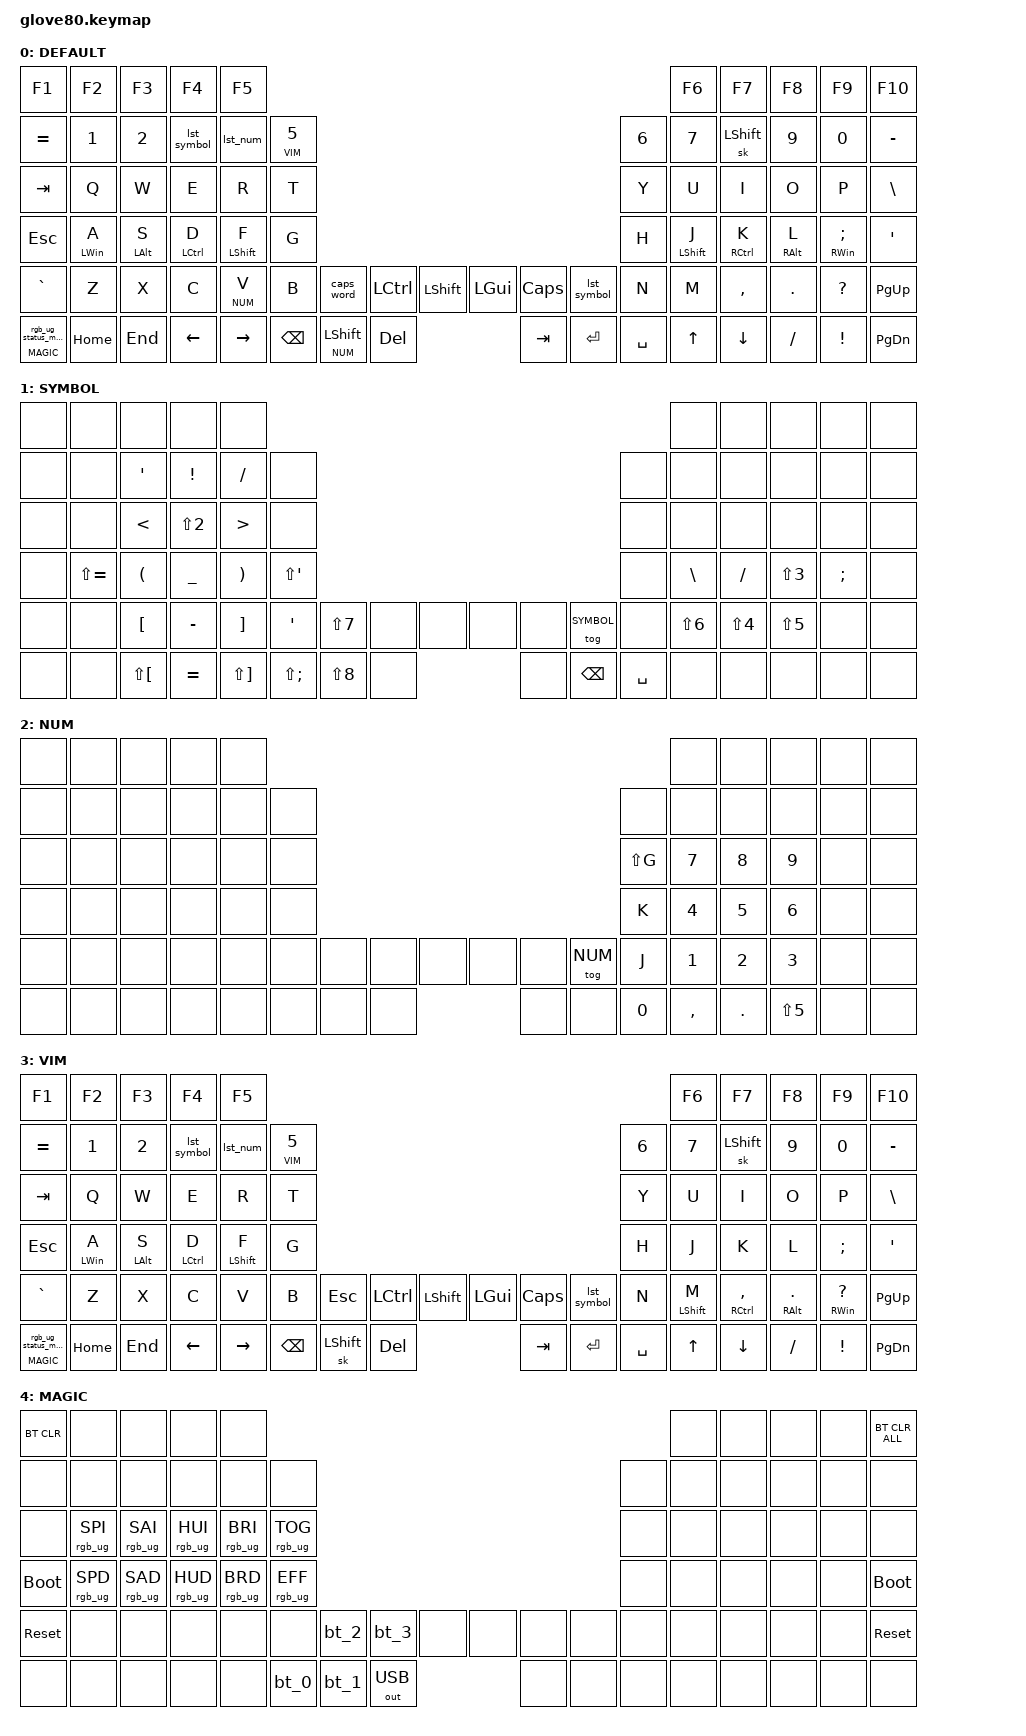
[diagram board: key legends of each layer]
/*
 * Copyright (c) 2020 The ZMK Contributors
 *
 * SPDX-License-Identifier: MIT
 */

#include <behaviors.dtsi>
#include <dt-bindings/zmk/keys.h>
#include <dt-bindings/zmk/bt.h>
#include <dt-bindings/zmk/ext_power.h>
#include <dt-bindings/zmk/outputs.h>
#include <dt-bindings/zmk/rgb.h>

#define HYPER LC(LS(LG(LALT)))

// layers
#define DEFAULT 0
#define SYMBOL 1
#define NUM 2 
#define VIM 3
#define MAGIC 4

&caps_word {
    continue-list = <UNDERSCORE MINUS FSLH BSPC>;
};

/ {
    behaviors {
        magic: magic_hold_tap {
            compatible = "zmk,behavior-hold-tap";
            label = "MAGIC_HOLD_TAP";
            #binding-cells = <2>;
            flavor = "tap-preferred";
            tapping-term-ms = <200>;
            bindings = <&mo>, <&rgb_ug_status_macro>;
        };
 
    };

    macros {
        rgb_ug_status_macro: rgb_ug_status_macro_0 {
            label = "RGB_UG_STATUS";
            compatible = "zmk,behavior-macro";
            #binding-cells = <0>;
            bindings
                = <&rgb_ug RGB_STATUS>;
        };

        bt_0: bt_profile_macro_0 {
            label = "BT_0";
            compatible = "zmk,behavior-macro";
            #binding-cells = <0>;
            bindings
                = <&out OUT_BLE>,
                  <&bt BT_SEL 0>;
        };

        bt_1: bt_profile_macro_1 {
            label = "BT_1";
            compatible = "zmk,behavior-macro";
            #binding-cells = <0>;
            bindings
                = <&out OUT_BLE>,
                  <&bt BT_SEL 1>;
        };

        bt_2: bt_profile_macro_2 {
            label = "BT_2";
            compatible = "zmk,behavior-macro";
            #binding-cells = <0>;
            bindings
                = <&out OUT_BLE>,
                  <&bt BT_SEL 2>;
        };

        bt_3: bt_profile_macro_3 {
            label = "BT_3";
            compatible = "zmk,behavior-macro";
            #binding-cells = <0>;
            bindings
                = <&out OUT_BLE>,
                  <&bt BT_SEL 3>;
        };
        select_word_left: select_word_left {
            compatible = "zmk,behavior-macro";
            #binding-cells = <0>;
            bindings
                = <&macro_press &kp LSHFT>
                , <&macro_press &kp LCTRL>
                , <&macro_tap &kp LEFT_ARROW>
                , <&macro_release &kp LSHFT>
                , <&macro_release &kp LCTRL>
                ;
        };
        select_line_left: select_line_left {
            compatible = "zmk,behavior-macro";
            #binding-cells = <0>;
            bindings
                = <&macro_press &kp LSHFT>
                , <&macro_tap &kp HOME>
                , <&macro_release &kp LSHFT>
                ;
        };  
       
         lst_symbol: layer_switch_type_symbol {
            compatible = "zmk,behavior-mod-morph";
            #binding-cells = <0>;
            bindings = <&sl SYMBOL>, <&tog SYMBOL>;
            mods = <(MOD_LCTL|MOD_RCTL)>;
        };

          lst_num: layer_switch_type_num {
            compatible = "zmk,behavior-mod-morph";
            #binding-cells = <0>;
            bindings = <&sl NUM>, <&tog NUM>;
            mods = <(MOD_LCTL|MOD_RCTL)>;
        };
        
        ht_tp: holdtap_tappreferred {
            compatible = "zmk,behavior-hold-tap";
            label = "HOLD_TAP_TAP_PREFERRED";
            #binding-cells = <2>;
            flavor = "tap-preferred";
            tapping-term-ms = <200>;
            quick-tap-ms = <0>;
            bindings = <&kp>, <&kp>;
        };
        ht_lt: holdtap_layertap {
            compatible = "zmk,behavior-hold-tap";
            label = "HOLD_TAP_LAYER_TAP";
            #binding-cells = <2>;
            flavor = "tap-preferred";
            tapping-term-ms = <200>;
            quick-tap-ms = <0>;
            bindings = <&tog>, <&kp>;
        };
 

      };

    combos {
        compatible = "zmk,combos";
        
        combo_swl {
            timeout-ms = <50>;
            key-positions = <49 50>;
            bindings = <&select_word_left>; 
        };
        
        combo_esc {
            timeout-ms = <50>;
            key-positions = <38 39>;
            bindings = <&kp ESC>; 
        };
 
        combo_tab {
            timeout-ms = <50>;
            key-positions = <>;
            bindings = <&kp ESC>; 
        };

        
        
        combo_sll {
            timeout-ms = <50>;
            key-positions = <48 49>;
            bindings = <&select_line_left>; 
        };

        
    };






    keymap {
        compatible = "zmk,keymap";

        DEFAULT {
            // ---------------------------------------------------------------------------------------------------------------------------------
            // |  F1   |  F2      |  F3          |  F4                                       |  F5                                 |                                                                                                            |  F6         |  F7         |  F8       |   F9       |  F10 |
            // |  =    |  1       |  2           |   lst_symbol        |  lst_num         |  &ht_lt VIM N5   |                                                                                  |  6   |   7         |   sk LSHFT  |  9        |   0        |   -  |
            // |  TAB  |  Q       |  W           |  E                                        |  R                                  |  T               |                                                                                  |  Y   |   U         |   I         |  O        |   P        |   \  |
            // |  ESC  |  LWIN/A  |  LALT/S      |  LCTRL/D                                  |  LSHFT/F                            |  G               |                                                                                  |  H   |   LSHFT/J   |   RCTRL/K   |  RALT/L   |   RWIN/;   |   '  |
            // |   `   |  Z       |  X           |  C                                        |  V                                  |  B               | caps word | LCTRL    | LSHFT | | LGUI | CAPS  | lst_symbol |  N   |   M         |   ,         |  .        |   ?        | PGUP |
            // | MAGIC | HOME     | END          | LEFT                                      | RIGHT                               |                  | BSPC      | sk LSHFT | del   | | TAB  | RET   | SPACE                            |      |  UP         | DOWN        |  FSLH     |   EXCL     | PGDN |

            bindings = <        
            &kp F1         &kp F2         &kp F3            &kp F4                              &kp F5                                                                                                                                            &kp F6          &kp F7            &kp F8         &kp F9              &kp F10
            &kp EQUAL      &kp N1         &kp N2            &lst_symbol                         &lst_num                         &ht_lt VIM N5                                                                                            &kp N6  &kp N7          &sk LSHFT         &kp N9         &kp N0              &kp MINUS
            &kp TAB        &kp Q          &kp W             &kp E                               &kp R                            &kp T                                                                                                    &kp Y   &kp U           &kp I             &kp O          &kp P               &kp BSLH
            &kp ESC        &ht_tp LWIN A  &ht_tp LALT S     &ht_tp LCTRL D                      &ht_tp LSHFT F                   &kp G                                                                                                    &kp H   &ht_tp  LSHFT J &ht_tp RCTRL K    &ht_tp RALT L  &ht_tp RWIN SEMI    &kp SQT
            &kp GRAVE      &kp Z          &kp X             &kp C                               &lt NUM V                            &kp B          &caps_word     &kp LCTRL  &kp LSHFT &kp LGUI  &kp CAPS &lst_symbol                        &kp N   &kp M           &kp COMMA         &kp DOT        &kp QMARK           &kp PG_UP
            &magic MAGIC 0 &kp HOME       &kp END           &kp LEFT                            &kp RIGHT                                       &kp BSPC       &lt NUM LSHFT  &kp DEL   &kp TAB   &kp RET  &kp SPACE                                  &kp UP          &kp DOWN          &kp FSLH       &kp EXCL            &kp PG_DN
            >;
        };

        // think about potential mod morphing for symbols
        // think about new layer for directions without selecting
        
         // ---------------------------------------------------------------------------------------------------------------------------------
            // |     |     |     |     |     |                                                                  |      |      |     |     |     |     
            // |     |     | '   | !   | /   |     |                                                       |    |      |      |     |     |     |          
            // |     |     | <   | @   | >   |     |                                                       |    |      |      |     |     |     |         
            // |     | +   | (   | _   | )   | "   |                                                       |    |  /   |  \   |  #  | SEMI|     |     
            // |     |     | [   | -   | ]   | '   | &   |     |     | |     |     |        | Layer Off    |    |  ^   |  $   |  %  |     |     |
            // |     |     | {   | =   | }   |     | :   | *   |     | |     |     | BSPC   | SPACE        |    |      |      |     |     |     |


        SYMBOL {
            bindings = <
            &none            &none               &none           &none           &none                                                                                                                      &none         &none               &none                      &none &none             
            &none            &none               &kp SQT         &kp EXCL        &kp FSLH        &none                                                                                             &none    &none         &none               &none                      &none &none
            &none            &none               &kp LT          &kp LS(N2)      &kp GT          &none                                                                                             &none    &none         &none               &none                      &none &none  
            &none            &kp LS(EQUAL)       &kp LPAR        &kp UNDER       &kp RPAR        &kp LS(SQT)                                                                                       &none    &kp BSLH         &kp FSLH         &kp LS(N3)                 &kp SEMI &none 
            &none            &none               &kp LBKT        &kp MINUS       &kp RBKT        &kp SQT      &kp LS(N7)        &none           &none      &none      &none         &tog SYMBOL    &none    &kp LS(N6)    &kp LS(N4)          &kp LS(N5)                 &none &none                
            &none            &none               &kp LS(LBKT)    &kp EQUAL       &kp LS(RBKT)                 &kp LS(SEMI)      &kp LS(N8)      &none      &none      &kp BSPC      &kp SPACE               &none         &none               &none                      &none &none 
            >;
        };
        
            // |     |     |     |     |     |                                                                       |     |     |     |     |     |     
            // |     |     |     |     |     |     |                                                           |     |     |     |     |     |     |
            // |     |     |     |     |     |     |                                                           | G    |  7  | 8   | 9   |     |     |     
            // |     |     |     |     |     |     |                                                           | k    |  4  | 5   | 6   |     |     |     
            // |     |     |     |     |     |     |     |     |     |     |     |     |       |  Layer Off    | j    |  1  |  2  | 3   |     |     
            // |     |     |     |     |     |     |     |     |     |     |     |     | RET   |     0          |     |     |     |     |     |     

 
        NUM {
            bindings = <
            &none           &none        &none        &none        &none                                                                                                                &none        &none        &none        &none        &none             
            &none           &none        &none        &none        &none        &none                                                                                      &none        &none        &none        &none        &none        &none
            &none           &none        &none        &none        &none        &none                                                                                      &kp LS(G)    &kp N7        &kp N8        &kp N9      &none        &none  
            &none           &none        &none        &none        &none        &none                                                                                      &kp K        &kp N4        &kp N5        &kp N6         &none        &none  
            &none           &none        &none        &none        &none        &none        &none        &none        &none        &none        &none        &tog NUM     &kp J        &kp N1        &kp N2        &kp N3        &none        &none                
            &none           &none        &none        &none        &none                     &none        &none        &none        &none        &none        &kp N0                     &kp COMMA        &kp DOT        &kp LS(N5)        &none        &none 
            >;
        };


        
        // one shot symbols, esc keymap
        // : ^ $ % are used as vim symbols
         VIM {
            // ---------------------------------------------------------------------------------------------------------------------------------
            // |  F1   |  F2      |  F3          |  F4                                       |  F5                                 |                                                                                                            |  F6         |  F7         |  F8       |   F9       |  F10 |
            // |  =    |  1       |  2           |   lst_symbol        |  lst_num         |  &ht_lt VIM N5   |                                                                                  |  6   |   7         |   sk LSHFT  |  9        |   0        |   -  |
            // |  TAB  |  Q       |  W           |  E                                        |  R                                  |  T               |                                                                                  |  Y   |   U         |   I         |  O        |   P        |   \  |
            // |  ESC  |  LWIN/A  |  LALT/S      |  LCTRL/D                                  |  LSHFT/F                            |  G               |                                                                                  |  H   |   LSHFT/J   |   RCTRL/K   |  RALT/L   |   RWIN/;   |   '  |
            // |   `   |  Z       |  X           |  C                                        |  V                                  |  B               | caps word | LCTRL    | LSHFT | | LGUI | CAPS  | lst_symbol |  N   |   M         |   ,         |  .        |   ?        | PGUP |
            // | MAGIC | HOME     | END          | LEFT                                      | RIGHT                               |                  | BSPC      | sk LSHFT | del   | | TAB  | RET   | SPACE                            |      |  UP         | DOWN        |  FSLH     |   EXCL     | PGDN |

            bindings = <        
            &kp F1         &kp F2         &kp F3            &kp F4                              &kp F5                                                                                                                                            &kp F6          &kp F7            &kp F8         &kp F9              &kp F10
        &kp EQUAL      &kp N1         &kp N2            &lst_symbol    &lst_num        &ht_lt VIM N5                                                                                                &kp N6  &kp N7          &sk LSHFT         &kp N9         &kp N0              &kp MINUS
            &kp TAB        &kp Q          &kp W             &kp E                               &kp R                            &kp T                                                                                                    &kp Y   &kp U           &kp I             &kp O          &kp P               &kp BSLH
            &kp ESC        &ht_tp LWIN A  &ht_tp LALT S     &ht_tp LCTRL D                      &ht_tp LSHFT F                   &kp G                                                                                                    &kp H   &kp J &kp K    &kp  L  &kp  SEMI    &kp SQT
            &kp GRAVE      &kp Z          &kp X             &kp C                               &kp V                            &kp B          &kp ESC     &kp LCTRL  &kp LSHFT &kp LGUI  &kp CAPS &lst_symbol    &kp N   &ht_tp  LSHFT M &ht_tp RCTRL COMMA    &ht_tp RALT DOT  &ht_tp RWIN QMARK           &kp PG_UP
            &magic MAGIC 0 &kp HOME       &kp END           &kp LEFT                            &kp RIGHT                                       &kp BSPC       &sk LSHFT  &kp DEL   &kp TAB   &kp RET  &kp SPACE                                  &kp UP          &kp DOWN          &kp FSLH       &kp EXCL            &kp PG_DN
            >;
        };

 
        MAGIC {
            bindings = <
            &bt BT_CLR        &none               &none           &none           &none                                                                                                           &none      &none      &none      &none      &bt BT_CLR_ALL
            &none             &none               &none           &none           &none           &none                                                                                &none      &none      &none      &none      &none      &none
            &none             &rgb_ug RGB_SPI     &rgb_ug RGB_SAI &rgb_ug RGB_HUI &rgb_ug RGB_BRI &rgb_ug RGB_TOG                                                                      &none      &none      &none      &none      &none      &none
            &bootloader       &rgb_ug RGB_SPD     &rgb_ug RGB_SAD &rgb_ug RGB_HUD &rgb_ug RGB_BRD &rgb_ug RGB_EFF                                                                      &none      &none      &none      &none      &none      &bootloader
            &sys_reset        &none               &none           &none           &none           &none           &bt_2     &bt_3     &none            &none     &none     &none       &none      &none      &none      &none      &none      &sys_reset
            &none             &none               &none           &none           &none                           &bt_0     &bt_1     &out OUT_USB     &none     &none     &none                  &none      &none      &none      &none      &none
            >;
        };
    };
};
            // |     |     |     |     |     |                                                             |     |     |     |     |     |     
            // |     |     |     |     |     |     |                                                 |     |     |     |     |     |     |   
            // |     |     |     |     |     |     |                                                 |     |     |     |     |     |     |     
            // |     |     |     |     |     |     |                                                 |     |     |     |     |     |     |     
            // |     |     |     |     |     |     |     |     |     |     |     |     |     |     |     |     |     |     |     |     
            // |     |     |     |     |     |     |     |     |     |     |     |     |     |     |     |     |     |     |     |     

     //       &none           &none        &none        &none        &none                                                                                                                &none        &none        &none        &none        &none             
       //     &none           &none        &none        &none        &none        &none                                                                                      &none        &none        &none        &none        &none        &none
         //   &none           &none        &none        &none        &none        &none                                                                                      &none        &none        &none        &none        &none        &none  
           // &none           &none        &none        &none        &none        &none                                                                                      &none        &none        &none        &none        &none        &none  
          //  &none           &none        &none        &none        &none        &none        &none        &none        &none        &none        &none        &none        &none        &none        &none        &none        &none        &none                
           // &none           &none        &none        &none        &none                     &none        &none        &none        &none        &none        &none                      &none        &none        &none        &none        &none 
 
